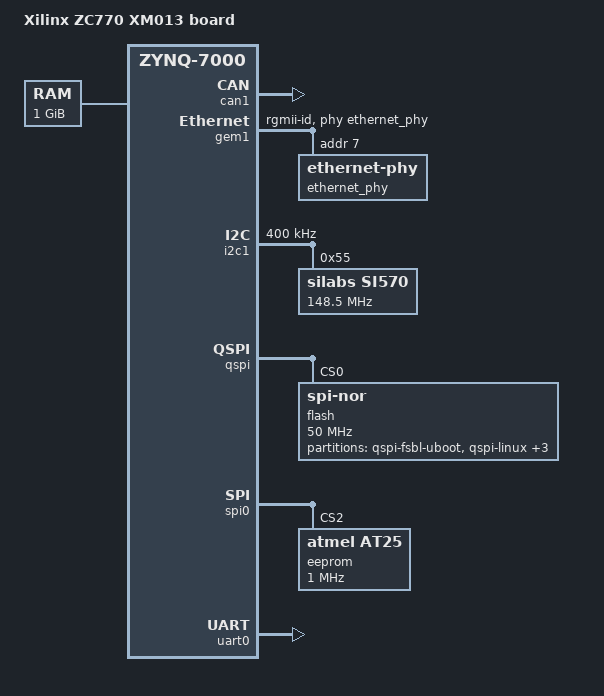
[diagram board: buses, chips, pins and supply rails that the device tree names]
// SPDX-License-Identifier: GPL-2.0+
/*
 * Xilinx ZC770 XM013 board DTS
 *
 * Copyright (C) 2013 Xilinx, Inc.
 */
/dts-v1/;
#include "zynq-7000.dtsi"

/ {
	model = "Xilinx ZC770 XM013 board";
	compatible = "xlnx,zynq-zc770-xm013", "xlnx,zynq-7000";

	aliases {
		ethernet0 = &gem1;
		i2c0 = &i2c1;
		serial0 = &uart0;
		spi0 = &qspi;
		spi1 = &spi0;
	};

	chosen {
		bootargs = "";
		stdout-path = "serial0:115200n8";
	};

	memory@0 {
		device_type = "memory";
		reg = <0x0 0x40000000>;
	};
};

&can1 {
	status = "okay";
};

&gem1 {
	status = "okay";
	phy-mode = "rgmii-id";
	phy-handle = <&ethernet_phy>;

	ethernet_phy: ethernet-phy@7 {
		reg = <7>;
	};
};

&i2c1 {
	status = "okay";
	clock-frequency = <400000>;

	si570: clock-generator@55 {
		#clock-cells = <0>;
		compatible = "silabs,si570";
		temperature-stability = <50>;
		reg = <0x55>;
		factory-fout = <156250000>;
		clock-frequency = <148500000>;
	};
};

&qspi {
	status = "okay";
	num-cs = <2>;
	flash@0 {
		compatible = "jedec,spi-nor";
		reg = <0>, <1>;
		parallel-memories = /bits/ 64 <0x1000000 0x1000000>; /* 16MB */
		spi-tx-bus-width = <1>;
		spi-rx-bus-width = <4>;
		spi-max-frequency = <50000000>;
		partitions {
			compatible = "fixed-partitions";
			#address-cells = <1>;
			#size-cells = <1>;
			partition@0 {
				label = "qspi-fsbl-uboot";
				reg = <0x0 0x100000>;
			};
			partition@100000 {
				label = "qspi-linux";
				reg = <0x100000 0x500000>;
			};
			partition@600000 {
				label = "qspi-device-tree";
				reg = <0x600000 0x20000>;
			};
			partition@620000 {
				label = "qspi-rootfs";
				reg = <0x620000 0x5e0000>;
			};
			partition@c00000 {
				label = "qspi-bitstream";
				reg = <0xc00000 0x400000>;
			};
		};
	};
};

&spi0 {
	status = "okay";
	num-cs = <4>;
	is-decoded-cs = <0>;
	eeprom: eeprom@2 {
		compatible = "atmel,at25";
		reg = <2>;
		spi-max-frequency = <1000000>;
		size = <8192>;
		address-width = <16>;
		pagesize = <32>;
	};
};

&uart0 {
	bootph-all;
	status = "okay";
};
